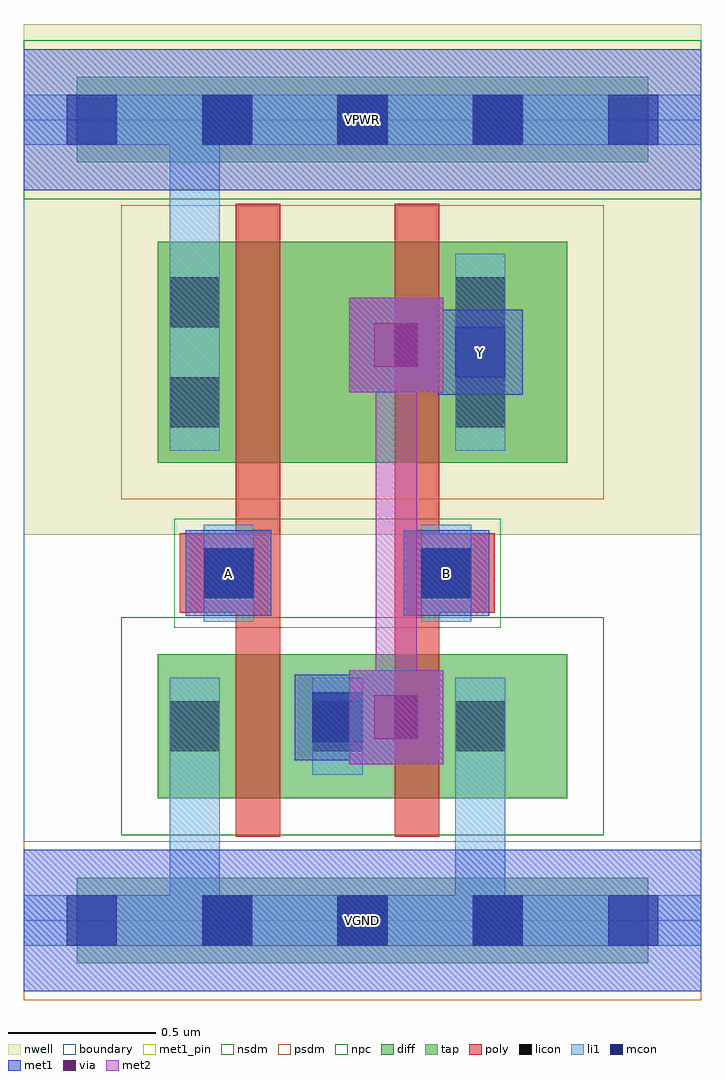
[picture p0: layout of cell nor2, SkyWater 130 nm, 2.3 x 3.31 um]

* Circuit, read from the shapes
.subckt nor2 A B VGND VPWR Y
XM1 Y A VGND VGND sky130_fd_pr__nfet_01v8 w=0.49 l=0.15
XM2 VGND B Y VGND sky130_fd_pr__nfet_01v8 w=0.49 l=0.15
XM3 n1 A VPWR VPWR sky130_fd_pr__pfet_01v8 w=0.75 l=0.15
XM4 Y B n1 VPWR sky130_fd_pr__pfet_01v8 w=0.75 l=0.15
.ends

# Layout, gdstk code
import gdstk
lib = gdstk.Library(unit=1e-6, precision=1e-09)
def R(c, l, rs):  # rectangles x0, y0, x1, y1
    for r in rs: c.add(gdstk.rectangle(r[:2], r[2:], *l))
def A(c, l, x, y, w, h, nx, ny, dx, dy):  # array of equal rectangles
    R(c, l, [(x+i*dx, y+j*dy, x+i*dx+w, y+j*dy+h) for i in range(nx) for j in range(ny)])
nwell = (64, 20)
diff = (65, 20)
tap = (65, 44)
poly = (66, 20)
licon = (66, 44)
li1 = (67, 20)
mcon = (67, 44)
met1_pin = (68, 16)
met1 = (68, 20)
via = (68, 44)
met2 = (69, 20)
nsdm = (93, 44)
psdm = (94, 20)
npc = (95, 20)
boundary = (235, 4)

nor2 = lib.new_cell('nor2')
R(nor2, nwell, [(0,1.31,2.3,3.045)])
R(nor2, diff, [(0.455,0.415,1.845,0.905), (0.455,1.555,1.845,2.305)])
R(nor2, tap, [(0.18,-0.145,2.12,0.145), (0.18,2.575,2.12,2.865)])
R(nor2, poly, [(0.72,0.285,0.87,2.435), (1.26,0.285,1.41,2.435), (0.53,1.045,0.86,1.315), (1.27,1.045,1.6,1.315)])
A(nor2, licon, 0.605, -0.085, 0.17, 0.17, 3, 2, 0.46, 2.72)
A(nor2, licon, 0.495, 0.575, 0.17, 0.17, 3, 1, 0.485, 0)
R(nor2, licon, [(0.61,1.095,0.78,1.265), (1.35,1.095,1.52,1.265), (0.495,1.675,0.665,1.845), (1.465,1.675,1.635,1.845), (0.495,2.015,0.665,2.185), (1.465,2.015,1.635,2.185)])
A(nor2, li1, 0.495, 0.495, 0.17, 0.33, 3, 1, 0.485, 0)
R(nor2, li1, [(0,-0.085,2.3,0.085), (0.495,-0.085,0.665,0.825), (1.465,-0.085,1.635,0.825), (0.61,1.015,0.78,1.345), (1.35,1.015,1.52,1.345), (0.495,1.595,0.665,2.265), (0.495,1.595,0.665,2.805), (1.465,1.595,1.635,2.265), (0,2.635,2.3,2.805)])
A(nor2, mcon, 0.145, -0.085, 0.17, 0.17, 5, 2, 0.46, 2.72)
R(nor2, mcon, [(0.98,0.605,1.15,0.775), (0.61,1.095,0.78,1.265), (1.35,1.095,1.52,1.265), (1.465,1.845,1.635,2.015)])
R(nor2, met1_pin, [(0,-0.24,2.3,0.24), (0.55,1.035,0.84,1.325), (1.29,1.035,1.58,1.325), (1.405,1.785,1.695,2.075), (0,2.48,2.3,2.96)])
R(nor2, met1, [(0,-0.24,2.3,0.24), (1.105,0.53,1.425,0.85), (0.92,0.545,1.21,0.835), (0.995,0.62,1.335,0.76), (0.55,1.035,0.84,1.325), (1.29,1.035,1.58,1.325), (1.405,1.785,1.695,2.075), (1.105,1.795,1.425,2.115), (1.195,1.885,1.565,2.025), (1.425,1.885,1.565,2.025), (0,2.48,2.3,2.96)])
R(nor2, via, [(1.19,0.615,1.34,0.765), (1.19,1.88,1.34,2.03)])
R(nor2, met2, [(1.105,0.53,1.425,0.85), (1.195,0.62,1.335,2.025), (1.105,1.795,1.425,2.115)])
R(nor2, nsdm, [(0.33,0.29,1.97,1.03), (0,2.45,2.3,2.99)])
R(nor2, psdm, [(0,-0.27,2.3,0.27), (0.33,1.43,1.97,2.43)])
R(nor2, npc, [(0.51,0.995,1.62,1.365)])
R(nor2, boundary, [(0,0,2.3,2.72)])
nor2.add(gdstk.Label('A', (0.695,1.18), layer=68, texttype=5))
nor2.add(gdstk.Label('B', (1.435,1.18), layer=68, texttype=5))
nor2.add(gdstk.Label('Y', (1.55,1.93), layer=68, texttype=5))
nor2.add(gdstk.Label('VPWR', (1.15,2.72), layer=68, texttype=5))
nor2.add(gdstk.Label('VGND', (1.15,0), layer=68, texttype=5))
nor2.add(gdstk.Label('A', (0.695,1.18), layer=68, texttype=16))
nor2.add(gdstk.Label('B', (1.435,1.18), layer=68, texttype=16))
nor2.add(gdstk.Label('Y', (1.55,1.93), layer=68, texttype=16))
nor2.add(gdstk.Label('VPWR', (1.15,2.72), layer=68, texttype=16))
nor2.add(gdstk.Label('VGND', (1.15,0), layer=68, texttype=16))

lib.write_gds('nor2.gds')
